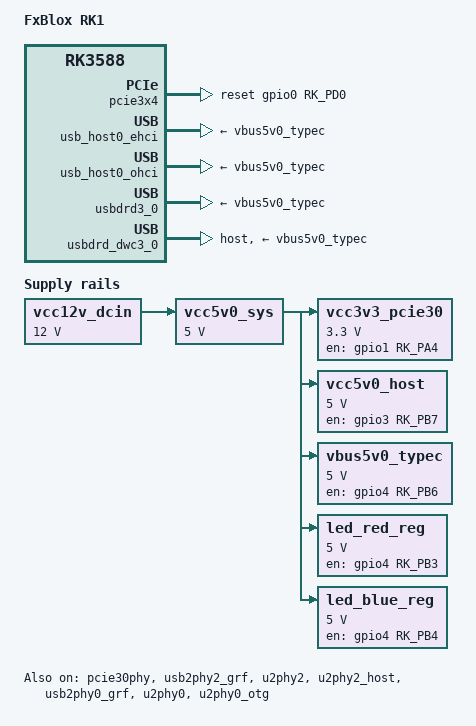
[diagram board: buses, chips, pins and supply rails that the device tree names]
// SPDX-License-Identifier: (GPL-2.0+ OR MIT)
/*
 * Copyright (c) 2021 Rockchip Electronics Co., Ltd
 *
 */

/dts-v1/;
#include "rk3588.dtsi"
#include "rk3588-u-boot.dtsi"
#include <dt-bindings/input/input.h>

/ {
	model = "FxBlox RK1";
	compatible = "Functionland,fxblox-rk1", "rockchip,rk3588";

	chosen {
		stdout-path = &uart2;
		u-boot,spl-boot-order = &spi_nor, &sdmmc, &sdhci, &spi_nand;
	};

	vcc12v_dcin: vcc12v-dcin {
		u-boot,dm-pre-reloc;
		compatible = "regulator-fixed";
		regulator-name = "vcc12v_dcin";
		regulator-always-on;
		regulator-boot-on;
		regulator-min-microvolt = <12000000>;
		regulator-max-microvolt = <12000000>;
	};

	vcc5v0_sys: vcc5v0-sys {
		u-boot,dm-pre-reloc;
		compatible = "regulator-fixed";
		regulator-name = "vcc5v0_sys";
		regulator-always-on;
		regulator-boot-on;
		regulator-min-microvolt = <5000000>;
		regulator-max-microvolt = <5000000>;
		vin-supply = <&vcc12v_dcin>;
	};

	vcc3v3_pcie30: vcc3v3-pcie30 {
		u-boot,dm-pre-reloc;
		compatible = "regulator-fixed";
		regulator-name = "vcc3v3_pcie30";
		regulator-min-microvolt = <3300000>;
		regulator-max-microvolt = <3300000>;
		enable-active-high;
		gpio = <&gpio1 RK_PA4 GPIO_ACTIVE_HIGH>;
		regulator-boot-on;
		regulator-always-on;
		vin-supply = <&vcc5v0_sys>;
	};

	vcc5v0_host: vcc5v0-host-regulator {
		u-boot,dm-pre-reloc;
		compatible = "regulator-fixed";
		regulator-name = "vcc5v0_host";
		regulator-min-microvolt = <5000000>;
		regulator-max-microvolt = <5000000>;
		enable-active-high;
		gpio = <&gpio3 RK_PB7 GPIO_ACTIVE_HIGH>;
		regulator-boot-on;
		regulator-always-on;
		pinctrl-names = "default";
		pinctrl-0 = <&vcc5v0_host_en>;
		vin-supply = <&vcc5v0_sys>;
	};

	vbus5v0_typec: vbus5v0-typec {
		u-boot,dm-pre-reloc;
		compatible = "regulator-fixed";
		regulator-name = "vbus5v0_typec";
		regulator-min-microvolt = <5000000>;
		regulator-max-microvolt = <5000000>;
		enable-active-high;
		gpio = <&gpio4 RK_PB6 GPIO_ACTIVE_HIGH>;
		regulator-boot-on;
		regulator-always-on;
		vin-supply = <&vcc5v0_sys>;
		pinctrl-names = "default";
		pinctrl-0 = <&typec5v_pwren>;
	};

	led_red_reg: led-red-reg {
		u-boot,dm-pre-reloc;
		compatible = "regulator-fixed";
		regulator-name = "led_red_reg";
		regulator-min-microvolt = <5000000>;
		regulator-max-microvolt = <5000000>;
		enable-active-high;
		gpio = <&gpio4 RK_PB3 GPIO_ACTIVE_HIGH>;
		regulator-boot-on;
		regulator-always-on;
		pinctrl-names = "default";
		pinctrl-0 = <&gpio_led_red>;
		vin-supply = <&vcc5v0_sys>;
	};

	led_blue_reg: led-blue-reg {
		u-boot,dm-pre-reloc;
		compatible = "regulator-fixed";
		regulator-name = "led_blue_reg";
		regulator-min-microvolt = <5000000>;
		regulator-max-microvolt = <5000000>;
		enable-active-high;
		gpio = <&gpio4 RK_PB4 GPIO_ACTIVE_HIGH>;
		regulator-boot-on;
		regulator-always-on;
		pinctrl-names = "default";
		pinctrl-0 = <&gpio_led_blue>;
		vin-supply = <&vcc5v0_sys>;
	};
};

&pcie3x4 {
	u-boot,dm-pre-reloc;
	reset-gpios = <&gpio0 RK_PD0 GPIO_ACTIVE_HIGH>;
	status = "okay";
};

&pcie30phy {
	u-boot,dm-pre-reloc;
	status = "okay";
};

&usb2phy2_grf {
	u-boot,dm-pre-reloc;
	status = "okay";
	phy-supply = <&vcc5v0_host>;
};

&u2phy2 {
	u-boot,dm-pre-reloc;
	status = "okay";
	phy-supply = <&vcc5v0_host>;
};

&u2phy2_host {
	u-boot,dm-pre-reloc;
	status = "okay";
	phy-supply = <&vcc5v0_host>;
};

&usb_host0_ehci {
	u-boot,dm-pre-reloc;
	status = "okay";
	vbus-supply= <&vbus5v0_typec>;
};

&usb_host0_ohci {
	u-boot,dm-pre-reloc;
	vbus-supply= <&vbus5v0_typec>;
	status = "okay";
};

&usb2phy0_grf {
	u-boot,dm-pre-reloc;
	status = "okay";
	phy-supply = <&vbus5v0_typec>;
};

&u2phy0 {
	u-boot,dm-pre-reloc;
	status = "okay";
	phy-supply = <&vbus5v0_typec>;
};

&u2phy0_otg {
	u-boot,dm-pre-reloc;
	status = "okay";
	phy-supply = <&vbus5v0_typec>;
};

&usbdp_phy0 {
	u-boot,dm-pre-reloc;
	status = "disable";
	phy-supply = <&vbus5v0_typec>;
};

&usbdrd3_0 {
	u-boot,dm-pre-reloc;
	vbus-supply= <&vbus5v0_typec>;
	status = "okay";
};

&usbdrd_dwc3_0 {
	u-boot,dm-pre-reloc;
	dr_mode = "host";
	vbus-supply= <&vbus5v0_typec>;
	status = "okay";
};

&pinctrl {
	usb {
		u-boot,dm-pre-reloc;
		vcc5v0_host_en: vcc5v0-host-en {
			u-boot,dm-pre-reloc;
			rockchip,pins = <3 RK_PB7 RK_FUNC_GPIO &pcfg_pull_none>;
		};
	};

	usb-typec {
		u-boot,dm-pre-reloc;
		typec5v_pwren: typec5v-pwren {
			u-boot,dm-pre-reloc;
			rockchip,pins = <4 RK_PB6 RK_FUNC_GPIO &pcfg_pull_none>;
		};
	};

	gpio_led {
		gpio_led_red: gpio-led-red {
			rockchip,pins = <4 RK_PB3 RK_FUNC_GPIO &pcfg_pull_none>;
		};

		gpio_led_blue: gpio-led-blue {
			rockchip,pins = <4 RK_PB4 RK_FUNC_GPIO &pcfg_pull_none>;
		};
	};
};
